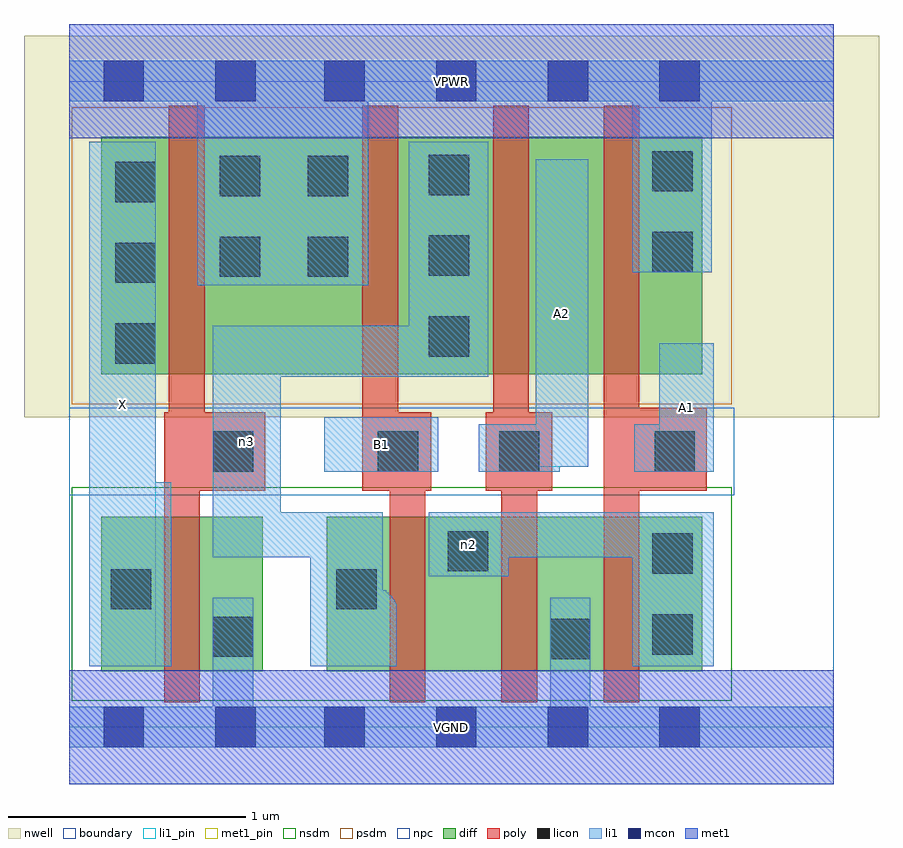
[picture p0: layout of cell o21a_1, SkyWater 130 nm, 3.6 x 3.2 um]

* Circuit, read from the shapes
.subckt o21a_1 A1 A2 B1 VGND VPWR X n2 n3
XM1 VGND n3 X VSUBS sky130_fd_pr__nfet_01v8 w=0.65 l=0.15
XM2 n2 B1 n3 VSUBS sky130_fd_pr__nfet_01v8 w=0.65 l=0.15
XM3 VGND A2 n2 VSUBS sky130_fd_pr__nfet_01v8 w=0.65 l=0.15
XM4 n2 A1 VGND VSUBS sky130_fd_pr__nfet_01v8 w=0.65 l=0.15
XM5 VPWR n3 X n1 sky130_fd_pr__pfet_01v8 w=1 l=0.15
XM6 n3 B1 VPWR n1 sky130_fd_pr__pfet_01v8 w=1 l=0.15
XM7 n4 A2 n3 n1 sky130_fd_pr__pfet_01v8 w=1 l=0.15
XM8 VPWR A1 n4 n1 sky130_fd_pr__pfet_01v8 w=1 l=0.15
.ends

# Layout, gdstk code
import gdstk
lib = gdstk.Library(unit=1e-6, precision=1e-09)
def R(c, l, rs):  # rectangles x0, y0, x1, y1
    for r in rs: c.add(gdstk.rectangle(r[:2], r[2:], *l))
def A(c, l, x, y, w, h, nx, ny, dx, dy):  # array of equal rectangles
    R(c, l, [(x+i*dx, y+j*dy, x+i*dx+w, y+j*dy+h) for i in range(nx) for j in range(ny)])
nwell = (64, 20)
diff = (65, 20)
poly = (66, 20)
licon = (66, 44)
li1_pin = (67, 16)
li1 = (67, 20)
mcon = (67, 44)
met1_pin = (68, 16)
met1 = (68, 20)
nsdm = (93, 44)
psdm = (94, 20)
npc = (95, 20)
boundary = (235, 4)

o21a_1 = lib.new_cell('o21a_1')
R(o21a_1, nwell, [(-0.19,1.305,3.41,2.91), (0,1.305,3.22,2.91)])
R(o21a_1, diff, [(0.135,0.235,0.815,0.885), (1.085,0.235,2.665,0.885), (0.135,1.485,2.665,2.485)])
R(o21a_1, poly, [(0.4,0.105,0.55,1.325), (1.35,0.105,1.5,1.325), (1.82,0.105,1.97,1.325), (2.25,0.105,2.4,2.615), (0.4,0.995,0.825,1.325), (0.42,0.995,0.57,2.615), (1.235,0.995,1.385,2.615), (1.235,0.995,1.525,1.325), (1.755,0.995,2.035,1.325), (1.785,0.995,1.935,2.615), (2.25,0.995,2.685,1.345)])
A(o21a_1, licon, 0.195, 1.53, 0.17, 0.17, 1, 3, 0, 0.34)
A(o21a_1, licon, 1.515, 1.56, 0.17, 0.17, 1, 3, 0, 0.34)
R(o21a_1, licon, [(2.025,0.285,2.195,0.455), (0.605,0.295,0.775,0.465), (2.455,0.305,2.625,0.475), (0.175,0.495,0.345,0.665), (1.125,0.495,1.295,0.665), (2.455,0.645,2.625,0.815), (1.595,0.655,1.765,0.825), (0.605,1.075,0.775,1.245), (1.3,1.075,1.47,1.245), (1.81,1.075,1.98,1.245), (2.465,1.075,2.635,1.245), (0.635,1.895,0.805,2.065), (1.005,1.895,1.175,2.065), (2.455,1.915,2.625,2.085), (0.635,2.235,0.805,2.405), (1.005,2.235,1.175,2.405), (2.455,2.255,2.625,2.425)])
R(o21a_1, li1_pin, [(0.085,0.255,0.365,2.465), (1.075,1.075,1.555,1.305), (2.485,1.075,2.715,1.615), (1.965,1.095,2.185,2.39)])
R(o21a_1, li1, [(0,-0.085,3.22,0.085), (0.605,-0.085,0.775,0.545), (2.025,-0.085,2.195,0.545), (0.085,0.255,0.365,2.465), (0.085,0.255,0.43,1.03), (1.015,0.255,1.32,0.905), (1.015,0.255,1.38,0.52), (1.015,0.255,1.355,0.555), (1.015,0.255,1.335,0.575), (1.015,0.255,1.37,0.535), (1.015,0.255,1.345,0.565), (1.015,0.255,1.36,0.55), (1.015,0.255,1.365,0.54), (1.015,0.255,1.375,0.525), (2.37,0.255,2.715,0.905), (1.515,0.635,1.85,0.905), (0.605,0.715,0.89,1.69), (0.605,0.715,1.32,0.905), (1.515,0.715,2.715,0.905), (1.075,1.075,1.555,1.305), (1.725,1.075,2.065,1.275), (2.38,1.075,2.715,1.275), (2.485,1.075,2.715,1.615), (1.965,1.095,2.185,2.39), (0.605,1.475,1.765,1.69), (1.43,1.475,1.765,2.465), (0.54,1.86,1.26,2.805), (2.37,1.915,2.705,2.805), (0,2.635,3.22,2.805)])
A(o21a_1, mcon, 1.075, -0.085, 0.17, 0.17, 4, 2, 0.47, 2.72)
R(o21a_1, mcon, [(0.145,-0.085,0.315,0.085), (0.615,-0.085,0.785,0.085), (0.145,2.635,0.315,2.805), (0.615,2.635,0.785,2.805)])
R(o21a_1, met1_pin, [(0,-0.24,3.22,0.24), (0,2.48,3.22,2.96)])
R(o21a_1, met1, [(0,-0.24,3.22,0.24), (0,2.48,3.22,2.96)])
R(o21a_1, nsdm, [(0.01,0.11,2.79,1.01)])
R(o21a_1, psdm, [(0.01,1.36,2.79,2.61)])
R(o21a_1, npc, [(0,0.975,2.8,1.345)])
R(o21a_1, boundary, [(0,0,3.22,2.72)])
o21a_1.add(gdstk.Label('A1', (2.6,1.345), layer=67, texttype=5))
o21a_1.add(gdstk.Label('A2', (2.075,1.742), layer=67, texttype=5))
o21a_1.add(gdstk.Label('B1', (1.315,1.19), layer=67, texttype=5))
o21a_1.add(gdstk.Label('X', (0.225,1.36), layer=67, texttype=5))
o21a_1.add(gdstk.Label('n2', (1.682,0.77), layer=67, texttype=5))
o21a_1.add(gdstk.Label('n3', (0.747,1.202), layer=67, texttype=5))
o21a_1.add(gdstk.Label('VPWR', (1.61,2.72), layer=68, texttype=5))
o21a_1.add(gdstk.Label('VGND', (1.61,0), layer=68, texttype=5))
o21a_1.add(gdstk.Label('A1', (2.6,1.345), layer=67, texttype=16))
o21a_1.add(gdstk.Label('A2', (2.075,1.742), layer=67, texttype=16))
o21a_1.add(gdstk.Label('B1', (1.315,1.19), layer=67, texttype=16))
o21a_1.add(gdstk.Label('X', (0.225,1.36), layer=67, texttype=16))
o21a_1.add(gdstk.Label('VPWR', (1.61,2.72), layer=68, texttype=16))
o21a_1.add(gdstk.Label('VGND', (1.61,0), layer=68, texttype=16))

lib.write_gds('o21a_1.gds')
